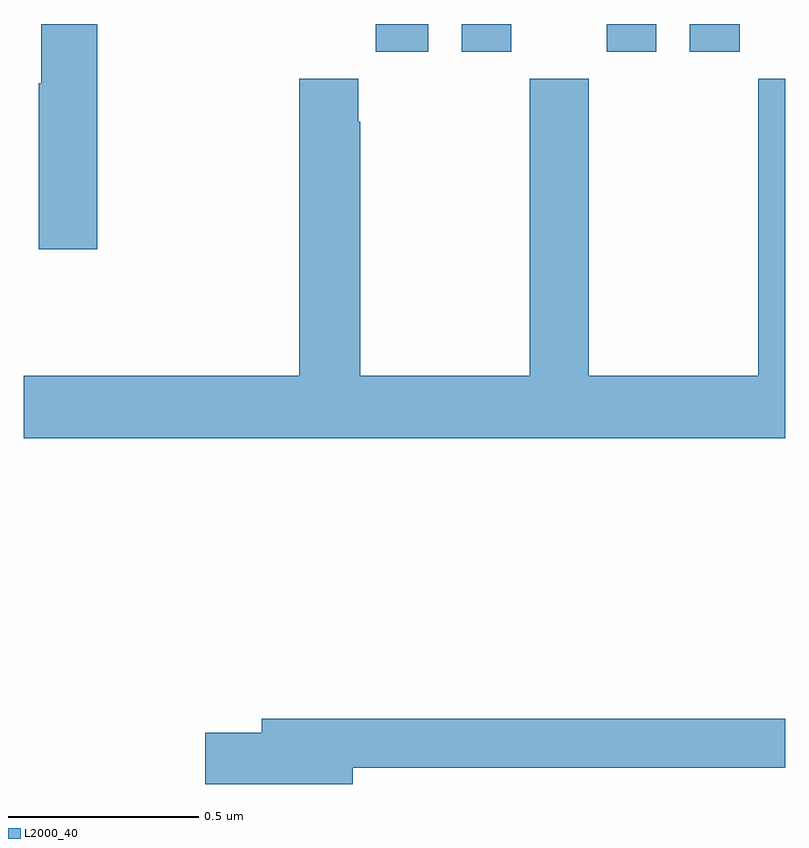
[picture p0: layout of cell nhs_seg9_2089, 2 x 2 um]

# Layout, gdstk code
import gdstk
lib = gdstk.Library(unit=1e-6, precision=1e-09)
def R(c, l, rs):  # rectangles x0, y0, x1, y1
    for r in rs: c.add(gdstk.rectangle(r[:2], r[2:], *l))
def P(c, l, *ps):  # polygons
    for p in ps: c.add(gdstk.Polygon(p, *l))
L2000_40 = (2000, 40)

nhs_seg9_2089 = lib.new_cell('nhs_seg9_2089')
R(nhs_seg9_2089, L2000_40, [(136.925,1205.427,137.062,1205.5), (137.15,1205.427,137.281,1205.5), (137.531,1205.427,137.662,1205.5), (137.75,1205.427,137.881,1205.5)])
P(nhs_seg9_2089, L2000_40, [(136.193,1205.5),(136.046,1205.5),(136.046,1205.344),(136.039,1205.344),(136.039,1204.908),(136.193,1204.908)],
  [(138,1205.356),(137.929,1205.356),(137.929,1204.576),(137.484,1204.576),(137.484,1205.356),(137.329,1205.356),(137.329,1204.576),(136.884,1204.576),(136.884,1205.243),(136.879,1205.243),(136.879,1205.356),(136.724,1205.356),(136.724,1204.576),(136,1204.576),(136,1204.412),(138,1204.412)],
  [(136.864,1203.546),(138,1203.546),(138,1203.674),(136.625,1203.674),(136.625,1203.638),(136.476,1203.638),(136.476,1203.503),(136.864,1203.503)])

lib.write_gds('nhs_seg9_2089.gds')
